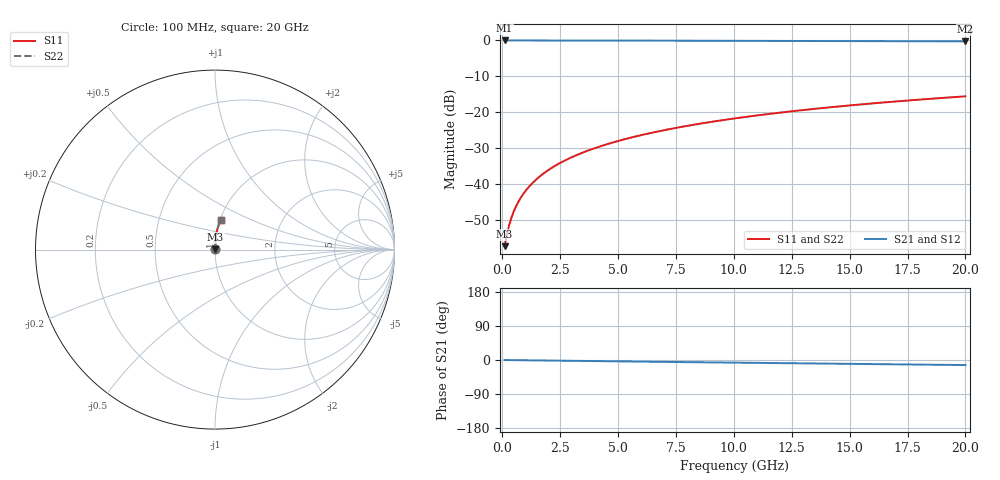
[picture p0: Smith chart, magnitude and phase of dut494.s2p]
! Touchstone file exported from HFSS 2024.1.0
!  File:  C:/UserFiles/LocalFiles/RDL_TSV_Batchsim/temp_RDL_top_494_1779678818.aedt
!  Generated:  11:15:43 AM May 25, 2026
!  Design:  RDL_top
!  Project:  temp_RDL_top_494_1779678818
!  Setup:  Setup1
!  Solution:  Sweep
! Variables:
!  dtsv = 10.80580581um
!  hbump = 3um
!  htsv = 85.77um
!  ldown = 100um
!  lrdl = 140.15um
!  p = 40
!  p1 = 49.29um
!  rhole = 1um
!  t = 450um
!  tdown = 3.915915916um
!  trdl = 3.27um
!  wdown = 15.38538539um
!  wrdl = 17.43um
# GHz S MA R 50.000000
! Terminal data exported
! Port[1] = Box2_T1
! Port[2] = Box2_T2
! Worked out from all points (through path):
!   200 points, 100 MHz to 20 GHz, reference 50 ohm
!   highest |S21| = -0.01 dB at 100 MHz (marker M1); lowest = -0.3 dB at 20 GHz (marker M2)
!   group delay of S21, straight-line fit = 1.84 ps
!   lowest |S11| = -57.3 dB at 100 MHz (marker M3), VSWR 1.00, Z = 50.1 + j0.0831 ohm
!   |S11| at or under -10 dB: start of sweep to end of sweep
!   |S22| runs from -57.3 to -15.6 dB; largest |S21 - S12| = 2.2e-15
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0.1  0.001368 37.3  0.9989 -0.1  0.9989 -0.1  0.001368 37.3
! Gamma 0 0 0 0
! Port Impedance 50 0 50 0
0.2  0.001988 55.9  0.9989 -0.2  0.9989 -0.2  0.001988 55.9
0.3  0.002705 64.9  0.9988 -0.2  0.9988 -0.2  0.002705 64.9
0.4  0.003449 70.0  0.9988 -0.3  0.9988 -0.3  0.003449 70.0
0.5  0.004201 73.3  0.9988 -0.4  0.9988 -0.4  0.004201 73.3
0.6  0.004957 75.7  0.9987 -0.4  0.9987 -0.4  0.004957 75.7
0.8  0.006479 78.8  0.9986 -0.6  0.9986 -0.6  0.006479 78.8
1.1  0.008781 81.5  0.9985 -0.8  0.9985 -0.8  0.008781 81.5
1.5  0.01188 83.6  0.9983 -1.1  0.9983 -1.1  0.01188 83.6
1.8  0.01422 84.6  0.9982 -1.3  0.9982 -1.3  0.01422 84.6
2.1  0.01657 85.3  0.998 -1.5  0.998 -1.5  0.01657 85.3
2.7  0.0213 86.2  0.9975 -2.0  0.9975 -2.0  0.0213 86.2
3.5  0.02767 86.8  0.9968 -2.6  0.9968 -2.6  0.02767 86.8
4.2  0.03331 87.1  0.996 -3.0  0.996 -3.0  0.03331 87.1
5  0.03982 87.2  0.995 -3.6  0.995 -3.6  0.03982 87.2
5.9  0.04723 87.2  0.9938 -4.2  0.9938 -4.2  0.04723 87.2
6.8  0.05472 87.0  0.9925 -4.9  0.9925 -4.9  0.05472 87.0
8.3  0.06734 86.5  0.9902 -5.9  0.9902 -5.9  0.06734 86.5
10.1  0.08265 85.6  0.9874 -7.0  0.9874 -7.0  0.08265 85.6
13.4  0.1109 83.7  0.9819 -9.2  0.9819 -9.2  0.1109 83.7
16.7  0.1389 81.5  0.9763 -11.3  0.9763 -11.3  0.1389 81.5
20  0.1666 79.3  0.9704 -13.3  0.9704 -13.3  0.1666 79.3
